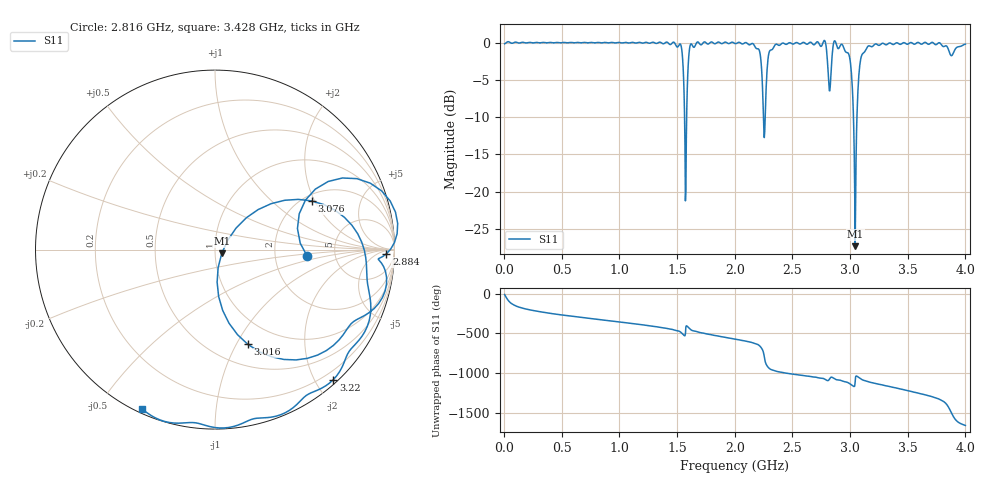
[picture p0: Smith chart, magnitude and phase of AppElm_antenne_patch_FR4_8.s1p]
! TOUCHSTONE file generated by CST MICROWAVE STUDIO
! Date and time: Tue Jun 14 11:27:53 2022
! Project name: AppElm_antenne_patch_FR4.cst
! Parameters = {L=45; W=64.35; e=0.035; h=1.6; lambda=0.190476; ls=120; w0=2.54; w1=0.847; ws=120; y0=18; y1=23.8}
! Header version: 2018
! Port assignment regex: !\s*Touchstone port\s*([0-9]+)\s*=\s*(CST MWS port|CST DS port)\s*([0-9]+|Zmin|Zmax)\s*\(\"(.*)\"\)(\s*mode\s*([0-9]+))?.*
! Touchstone port assignment:
! Touchstone port 1 = CST MWS port 1 ("")
# GHz S MA R 50
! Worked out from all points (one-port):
!   1000 points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, 4 MHz to 4 GHz, reference 50 ohm
!   lowest |S11| = -27.3 dB at 3.044 GHz (marker M1), VSWR 1.09, Z = 53.9 - j2.28 ohm
!   |S11| at or under -10 dB: 1.565 GHz to 1.583 GHz (18.21 MHz wide, 1.16 % of centre); 2.249 GHz to 2.264 GHz (14.71 MHz wide, 0.652 % of centre); 3.029 GHz to 3.059 GHz (30.29 MHz wide, 0.995 % of centre)
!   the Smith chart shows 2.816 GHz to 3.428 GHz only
!   S11 on the Smith chart (normalised r, x): 2.816 GHz: 3.09, -0.32; 2.884 GHz: 34, -18; 3.016 GHz: 0.73, -1.11; 3.076 GHz: 2.22, +1.89; 3.22 GHz: 0.06, -2.26; 3.428 GHz: 0.02, -0.64
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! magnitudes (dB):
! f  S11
! 4 MHz  -0.2
! 504 MHz  0.0
! 1.004 GHz  0.0
! 1.504 GHz  -0.6
! 1.536 GHz  -0.5
! 1.572 GHz  -21.2
! 1.588 GHz  -6.3
! 1.608 GHz  -0.8
! 1.624 GHz  -0.2
! 2.004 GHz  -0.1
! 2.204 GHz  -0.8
! 2.256 GHz  -12.7
! 2.308 GHz  -1.0
! 2.504 GHz  -0.2
! 2.776 GHz  0.3
! 2.816 GHz  -5.8
! 2.884 GHz  -0.4
! 3.004 GHz  -2.8
! 3.016 GHz  -5.1
! 3.028 GHz  -9.3
! 3.044 GHz  -27.3
! 3.06 GHz  -9.7
! 3.076 GHz  -4.4
! 3.108 GHz  -1.5
! 3.22 GHz  -0.2
! 3.428 GHz  -0.2
! 3.504 GHz  -0.2
! 4 GHz  -0.2
